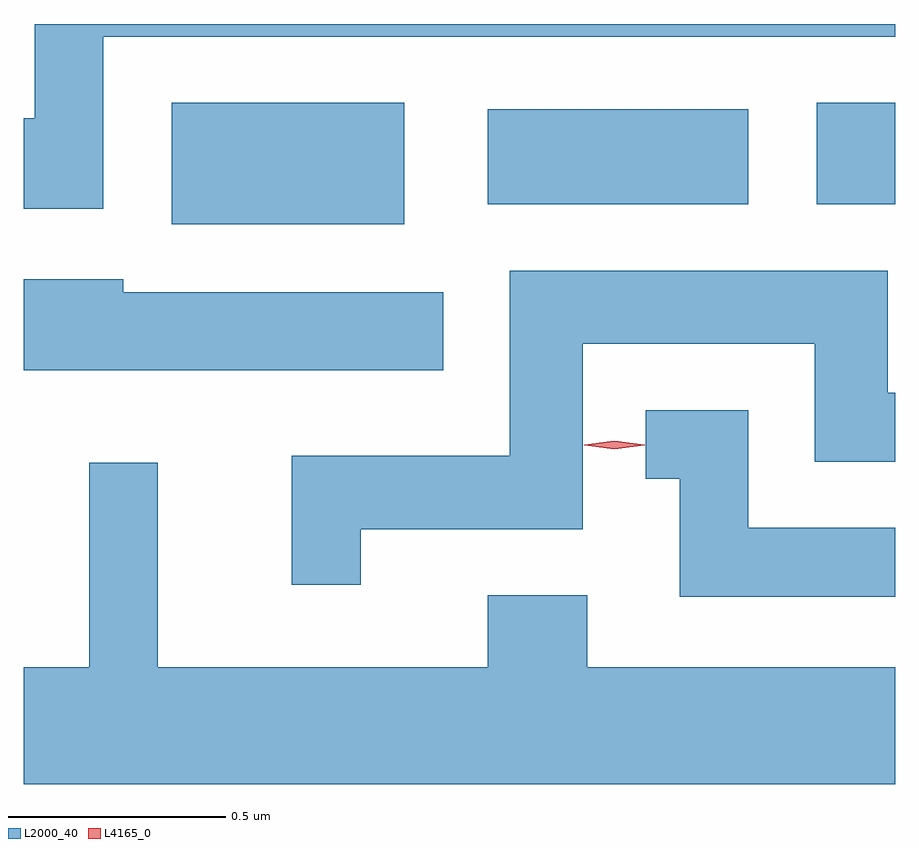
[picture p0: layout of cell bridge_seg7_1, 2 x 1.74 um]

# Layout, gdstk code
import gdstk
lib = gdstk.Library(unit=1e-6, precision=1e-09)
def R(c, l, rs):  # rectangles x0, y0, x1, y1
    for r in rs: c.add(gdstk.rectangle(r[:2], r[2:], *l))
def P(c, l, *ps):  # polygons
    for p in ps: c.add(gdstk.Polygon(p, *l))
L2000_40 = (2000, 40)
L4165_0 = (4165, 0)

bridge_seg7_1 = lib.new_cell('bridge_seg7_1')
R(bridge_seg7_1, L2000_40, [(1682.316,1799.961,1682.849,1800.239), (1683.041,1800.006,1683.639,1800.224), (1683.796,1800.006,1683.976,1800.239)])
P(bridge_seg7_1, L2000_40, [(1682.159,1800.391),(1683.976,1800.391),(1683.976,1800.42),(1682.001,1800.42),(1682.001,1800.204),(1681.976,1800.204),(1681.976,1799.996),(1682.159,1799.996)],
  [(1682.749,1799.261),(1683.259,1799.261),(1683.259,1799.686),(1683.791,1799.686),(1683.791,1799.416),(1683.976,1799.416),(1683.976,1799.574),(1683.959,1799.574),(1683.959,1799.854),(1683.091,1799.854),(1683.091,1799.429),(1682.591,1799.429),(1682.591,1799.133),(1682.749,1799.133)],
  [(1682.939,1799.804),(1682.204,1799.804),(1682.204,1799.834),(1681.976,1799.834),(1681.976,1799.626),(1682.939,1799.626)],
  [(1683.976,1799.264),(1683.639,1799.264),(1683.639,1799.534),(1683.403,1799.534),(1683.403,1799.376),(1683.481,1799.376),(1683.481,1799.106),(1683.976,1799.106)],
  [(1683.976,1798.944),(1683.269,1798.944),(1683.269,1799.109),(1683.041,1799.109),(1683.041,1798.944),(1682.284,1798.944),(1682.284,1799.413),(1682.126,1799.413),(1682.126,1798.944),(1681.976,1798.944),(1681.976,1798.676),(1683.976,1798.676)])
P(bridge_seg7_1, L4165_0, [(1683.331,1799.444),(1683.262,1799.453),(1683.262,1799.454),(1683.262,1799.454),(1683.331,1799.464),(1683.401,1799.454),(1683.401,1799.454),(1683.401,1799.453)])

lib.write_gds('bridge_seg7_1.gds')
